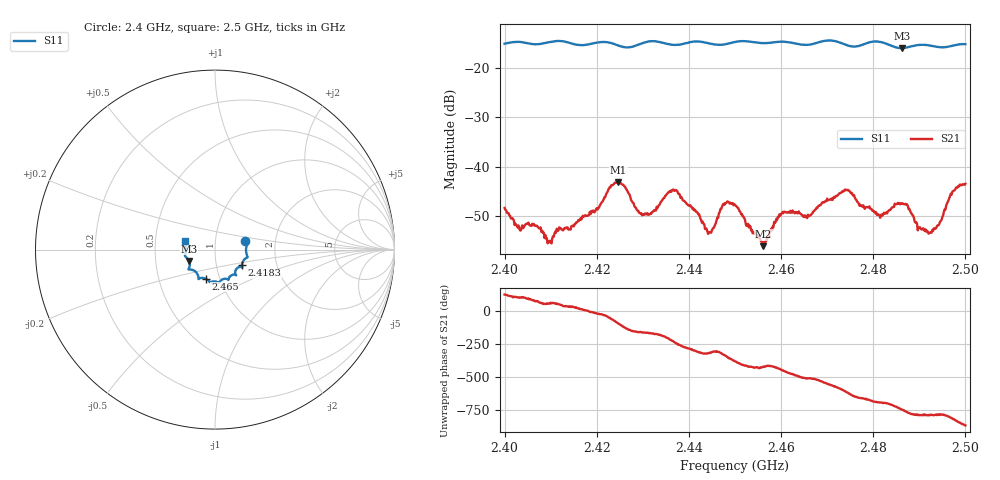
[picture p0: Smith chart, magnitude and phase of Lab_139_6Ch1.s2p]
# Hz S RI R 50
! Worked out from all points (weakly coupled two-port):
!   601 points, 2.4 GHz to 2.5 GHz, reference 50 ohm
!   highest |S21| = -43.11 dB at 2.4247 GHz (marker M1); lowest = -56.0 dB at 2.4562 GHz (marker M2)
!   lowest |S11| = -16.0 dB at 2.4862 GHz (marker M3), VSWR 1.37, Z = 37.1 - j4.82 ohm
!   |S11| at or under -10 dB: start of sweep to end of sweep
!   S12 and S22 are empty: the file has one direction only
!   S11 on the Smith chart (normalised r, x): 2.4 GHz: 1.40, +0.13; 2.4183 GHz: 1.33, -0.24; 2.465 GHz: 0.86, -0.29; 2.5 GHz: 0.71, +0.07
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2.4e9  0.1689 0.0459  -0.00197 0.00328  0 0  0 0
2.409667e9  0.1783 -0.0328  0.00101 0.0014  0 0  0 0
2.416667e9  0.1548 -0.0683  0.00289 0.000447  0 0  0 0
2.418333e9  0.1496 -0.0868  0.00323 -0.000438  0 0  0 0
2.424667e9  0.1375 -0.096  -0.000967 -0.00692  0 0  0 0
2.429667e9  0.113 -0.1345  -0.00326 -0.00093  0 0  0 0
2.433333e9  0.1167 -0.1411  -0.00398 0.000101  0 0  0 0
2.437e9  0.0901 -0.1441  -0.00267 0.00515  0 0  0 0
2.4445e9  0.0651 -0.1633  0.00165 0.00144  0 0  0 0
2.447667e9  0.0379 -0.1679  0.00376 0.00168  0 0  0 0
2.45e9  0.0252 -0.1806  0.00373 -0.00166  0 0  0 0
2.456167e9  -0.0023 -0.1772  0.000689 -0.00142  0 0  0 0
2.460167e9  -0.0284 -0.1811  -4.98e-05 -0.00339  0 0  0 0
2.465e9  -0.0527 -0.1621  -0.0028 -0.0016  0 0  0 0
2.466667e9  -0.0712 -0.1577  -0.00307 -0.00134  0 0  0 0
2.474167e9  -0.096 -0.14  -0.00139 0.00569  0 0  0 0
2.481e9  -0.1479 -0.1094  0.00298 0.00146  0 0  0 0
2.483333e9  -0.142 -0.0958  0.00348 0.000911  0 0  0 0
2.486167e9  -0.1444 -0.0633  0.00375 -0.002  0 0  0 0
2.4925e9  -0.1653 -0.0239  0.000789 -0.00204  0 0  0 0
2.497167e9  -0.1643 0.029  -0.0007 -0.00556  0 0  0 0
2.5e9  -0.1667 0.0469  -0.00579 -0.00344  0 0  0 0
